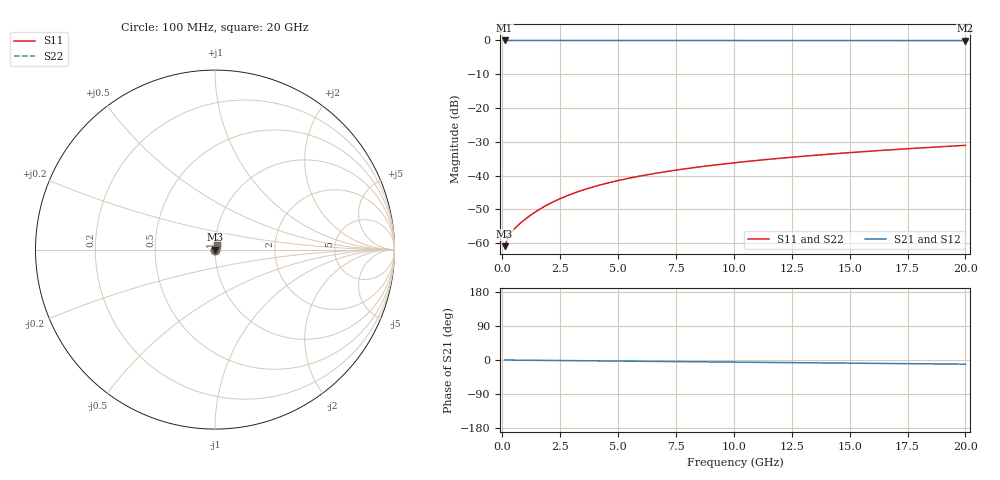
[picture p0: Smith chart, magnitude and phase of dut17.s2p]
! Touchstone file exported from HFSS 2026.1.0
!  File:  C:/ffzhzh/LocalFiles/Ansys_Project_Files/temp_train_BSMRDL_17_1782881989_43084.aedt
!  Generated:  01:00:56 PM Jul  1, 2026
!  Design:  BSMRDL
!  Project:  temp_train_BSMRDL_17_1782881989_43084
! Variables:
!  h_bsmrdl = 3.65um
!  h_ox = 20um
!  h_rdl = 5um
!  h_sub = 80um
!  h_tmrdl = 5um
!  h_tsv = 80um
!  h_via = 3um
!  l_bsmrdl = 175.63um
!  l_sub = 575.63um
!  l_tmrdl = 200um
!  m_sub = 200um
!  pitch = 36.43um
!  r_tsv = 6um
!  s_tmrdl = 10um
!  w_bsmrdl = 29.73um
!  w_sub = 500um
!  w_tmrdl = 12um
!  x_tsv_center1 = 206um
!  x_tsv_center2 = 411.36um
!  x_tsv_center3 = 623.36um
!  x_tsv_center4 = 828.72um
!  x_tsv_center5 = 1040.72um
!  x_tsv_center6 = 1246.08um
# GHz S MA R 50.000000
! Terminal data exported
! Port[1] = BSM_RDL1_1_T1
! Port[2] = BSM_RDL1_1_T2
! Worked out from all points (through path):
!   200 points, 100 MHz to 20 GHz, reference 50 ohm
!   highest |S21| = -0.01 dB at 100 MHz (marker M1); lowest = 0.0 dB at 20 GHz (marker M2)
!   group delay of S21, straight-line fit = 1.53 ps
!   lowest |S11| = -60.9 dB at 100 MHz (marker M3), VSWR 1.00, Z = 50.1 + j0.0316 ohm
!   |S11| at or under -10 dB: start of sweep to end of sweep
!   |S22| runs from -60.9 to -31.0 dB; largest |S21 - S12| = 4e-15
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0.1  0.000904 20.4  0.9992 -0.1  0.9992 -0.1  0.000904 20.4
! Gamma 0 0 0 0
! Port Impedance 50 0 50 0
0.2  0.001105 31.1  0.9991 -0.1  0.9991 -0.1  0.001105 31.1
0.3  0.001296 36.3  0.999 -0.2  0.999 -0.2  0.001296 36.3
0.4  0.00146 39.8  0.9989 -0.2  0.9989 -0.2  0.00146 39.8
0.5  0.001604 42.7  0.9988 -0.3  0.9988 -0.3  0.001604 42.7
0.7  0.001872 47.9  0.9988 -0.4  0.9988 -0.4  0.001872 47.9
0.9  0.00214 52.4  0.9987 -0.5  0.9987 -0.5  0.002141 52.4
1.2  0.002563 57.7  0.9987 -0.7  0.9987 -0.7  0.002563 57.7
1.7  0.003313 63.7  0.9986 -1.0  0.9986 -1.0  0.003313 63.7
2.2  0.004093 67.2  0.9985 -1.3  0.9985 -1.3  0.004093 67.2
2.8  0.005042 69.7  0.9984 -1.6  0.9984 -1.6  0.005043 69.6
3.5  0.006146 71.2  0.9982 -2.0  0.9982 -2.0  0.006146 71.2
4.2  0.007233 72.0  0.998 -2.4  0.998 -2.4  0.007233 72.0
5  0.008449 72.4  0.9978 -2.8  0.9978 -2.8  0.008449 72.4
5.9  0.009781 72.5  0.9976 -3.3  0.9976 -3.3  0.009781 72.5
6.8  0.01108 72.5  0.9973 -3.8  0.9973 -3.8  0.01108 72.5
8.3  0.01317 72.2  0.9969 -4.7  0.9969 -4.7  0.01317 72.2
10.1  0.01559 71.8  0.9965 -5.6  0.9965 -5.6  0.01559 71.8
11.7  0.01768 71.3  0.9961 -6.5  0.9961 -6.5  0.01768 71.3
13.4  0.01986 70.8  0.9958 -7.4  0.9958 -7.4  0.01986 70.8
16.7  0.02401 69.8  0.9951 -9.2  0.9951 -9.2  0.02401 69.8
20  0.02806 68.7  0.9946 -11.0  0.9946 -11.0  0.02806 68.6
